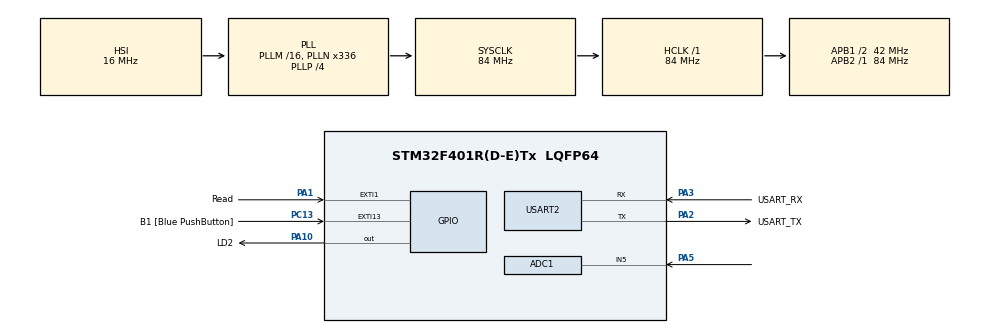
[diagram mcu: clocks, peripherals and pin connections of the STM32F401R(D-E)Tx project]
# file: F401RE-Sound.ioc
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ADC1.Channel-0\#ChannelRegularConversion=ADC_CHANNEL_5
ADC1.ContinuousConvMode=ENABLE
ADC1.NbrOfConversionFlag=1
ADC1.Rank-0\#ChannelRegularConversion=1
ADC1.SamplingTime-0\#ChannelRegularConversion=ADC_SAMPLETIME_480CYCLES
ADC1.master=1
Mcu.Family=STM32F4
Mcu.Name=STM32F401R(D-E)Tx
Mcu.Package=LQFP64
NVIC.EXTI15_10_IRQn=true\:0\:0\:false\:false\:true\:true\:true\:true
NVIC.EXTI1_IRQn=true\:0\:0\:false\:false\:true\:true\:true\:true
NVIC.PriorityGroup=NVIC_PRIORITYGROUP_0
PA1.GPIO_Label=Read
PA1.Signal=GPXTI1
PA10.GPIO_Label=LD2
PA10.PinState=GPIO_PIN_SET
PA10.Signal=GPIO_Output
PA13.GPIO_Label=TMS
PA13.Mode=Serial_Wire
PA13.Signal=SYS_JTMS-SWDIO
PA14.GPIO_Label=TCK
PA14.Mode=Serial_Wire
PA14.Signal=SYS_JTCK-SWCLK
PA2.GPIO_Label=USART_TX
PA2.GPIO_Mode=GPIO_MODE_AF_PP
PA2.GPIO_PuPd=GPIO_NOPULL
PA2.GPIO_Speed=GPIO_SPEED_FREQ_LOW
PA2.Mode=Asynchronous
PA2.Signal=USART2_TX
PA3.GPIO_Label=USART_RX
PA3.GPIO_Mode=GPIO_MODE_AF_PP
PA3.GPIO_PuPd=GPIO_NOPULL
PA3.GPIO_Speed=GPIO_SPEED_FREQ_LOW
PA3.Mode=Asynchronous
PA3.Signal=USART2_RX
PA5.Signal=ADCx_IN5
PB3.GPIO_Label=SWO
PB3.Signal=SYS_JTDO-SWO
PC13-ANTI_TAMP.GPIO_Label=B1 [Blue PushButton]
PC13-ANTI_TAMP.GPIO_ModeDefaultEXTI=GPIO_MODE_IT_FALLING
PC13-ANTI_TAMP.GPIO_PuPd=GPIO_NOPULL
PC13-ANTI_TAMP.Signal=GPXTI13
PC14-OSC32_IN.Mode=LSE-External-Oscillator
PC14-OSC32_IN.Signal=RCC_OSC32_IN
PC15-OSC32_OUT.Mode=LSE-External-Oscillator
PC15-OSC32_OUT.Signal=RCC_OSC32_OUT
PH0\ -\ OSC_IN.Mode=HSE-External-Clock-Source
PH0\ -\ OSC_IN.Signal=RCC_OSC_IN
PH1\ -\ OSC_OUT.Mode=HSE-External-Clock-Source
PH1\ -\ OSC_OUT.Signal=RCC_OSC_OUT
ProjectManager.HeapSize=0x200
ProjectManager.StackSize=0x400
ProjectManager.TargetToolchain=STM32CubeIDE
RCC.48MHZClocksFreq_Value=48000000
RCC.AHBFreq_Value=84000000
RCC.APB1CLKDivider=RCC_HCLK_DIV2
RCC.APB1Freq_Value=42000000
RCC.APB1TimFreq_Value=84000000
RCC.APB2Freq_Value=84000000
RCC.APB2TimFreq_Value=84000000
RCC.CortexFreq_Value=84000000
RCC.HCLKFreq_Value=84000000
RCC.HSE_VALUE=8000000
RCC.HSI_VALUE=16000000
RCC.PLLN=336
RCC.PLLP=RCC_PLLP_DIV4
RCC.PLLQ=7
RCC.SYSCLKFreq_VALUE=84000000
RCC.SYSCLKSource=RCC_SYSCLKSOURCE_PLLCLK
RCC.VCOOutputFreq_Value=336000000
SH.ADCx_IN5.0=ADC1_IN5,IN5
USART2.VirtualMode=VM_ASYNC
board=NUCLEO-F401RE

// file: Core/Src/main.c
/* USER CODE BEGIN Header */
/**
  ******************************************************************************
  * @file           : main.c
  * @brief          : Main program body
  ******************************************************************************
  * @attention
  *
  * Copyright (c) 2024 STMicroelectronics.
  * All rights reserved.
  *
  * This software is licensed under terms that can be found in the LICENSE file
  * in the root directory of this software component.
  * If no LICENSE file comes with this software, it is provided AS-IS.
  *
  ******************************************************************************
  */
/* USER CODE END Header */
#include "main.h"

/* USER CODE BEGIN Includes */
#include <stdio.h>
#include <string.h>
/* USER CODE END Includes */

ADC_HandleTypeDef hadc1;

UART_HandleTypeDef huart2;

void SystemClock_Config(void);
static void MX_GPIO_Init(void);
static void MX_USART2_UART_Init(void);
static void MX_ADC1_Init(void);

/* USER CODE BEGIN 0 */
uint8_t count = 0;
/* USER CODE END 0 */

int main(void)
{

  /* MCU Configuration--------------------------------------------------------*/

  /* Reset of all peripherals, Initializes the Flash interface and the Systick. */
  HAL_Init();

  /* Configure the system clock */
  SystemClock_Config();

  /* Initialize all configured peripherals */
  MX_GPIO_Init();
  MX_USART2_UART_Init();
  MX_ADC1_Init();
  /* USER CODE BEGIN 2 */
  HAL_ADC_Start(&hadc1);
  /* USER CODE END 2 */

  /* Infinite loop */
  /* USER CODE BEGIN WHILE */
  uint16_t raw;
  HAL_ADC_PollForConversion(&hadc1, 1);
  while (1)
  {
	  //printf("COUNT: %d \n", count);
	  //HAL_Delay(1000);
    /* USER CODE END WHILE */
	   	   raw = HAL_ADC_GetValue(&hadc1);
	   	   if(raw > 3320){
	   	   printf("\nRaw: %i", raw);
	   	   }
	   	   HAL_Delay(100);
  }
}

void SystemClock_Config(void)
{
  RCC_OscInitTypeDef RCC_OscInitStruct = {0};
  RCC_ClkInitTypeDef RCC_ClkInitStruct = {0};

  /** Configure the main internal regulator output voltage
  */
  __HAL_RCC_PWR_CLK_ENABLE();
  __HAL_PWR_VOLTAGESCALING_CONFIG(PWR_REGULATOR_VOLTAGE_SCALE2);

  /** Initializes the RCC Oscillators according to the specified parameters
  * in the RCC_OscInitTypeDef structure.
  */
  RCC_OscInitStruct.OscillatorType = RCC_OSCILLATORTYPE_HSI;
  RCC_OscInitStruct.HSIState = RCC_HSI_ON;
  RCC_OscInitStruct.HSICalibrationValue = RCC_HSICALIBRATION_DEFAULT;
  RCC_OscInitStruct.PLL.PLLState = RCC_PLL_ON;
  RCC_OscInitStruct.PLL.PLLSource = RCC_PLLSOURCE_HSI;
  RCC_OscInitStruct.PLL.PLLM = 16;
  RCC_OscInitStruct.PLL.PLLN = 336;
  RCC_OscInitStruct.PLL.PLLP = RCC_PLLP_DIV4;
  RCC_OscInitStruct.PLL.PLLQ = 7;
  if (HAL_RCC_OscConfig(&RCC_OscInitStruct) != HAL_OK)
  {
    Error_Handler();
  }

  /** Initializes the CPU, AHB and APB buses clocks
  */
  RCC_ClkInitStruct.ClockType = RCC_CLOCKTYPE_HCLK|RCC_CLOCKTYPE_SYSCLK
                              |RCC_CLOCKTYPE_PCLK1|RCC_CLOCKTYPE_PCLK2;
  RCC_ClkInitStruct.SYSCLKSource = RCC_SYSCLKSOURCE_PLLCLK;
  RCC_ClkInitStruct.AHBCLKDivider = RCC_SYSCLK_DIV1;
  RCC_ClkInitStruct.APB1CLKDivider = RCC_HCLK_DIV2;
  RCC_ClkInitStruct.APB2CLKDivider = RCC_HCLK_DIV1;

  if (HAL_RCC_ClockConfig(&RCC_ClkInitStruct, FLASH_LATENCY_2) != HAL_OK)
  {
    Error_Handler();
  }
}

static void MX_ADC1_Init(void)
{

  ADC_ChannelConfTypeDef sConfig = {0};

  /** Configure the global features of the ADC (Clock, Resolution, Data Alignment and number of conversion)
  */
  hadc1.Instance = ADC1;
  hadc1.Init.ClockPrescaler = ADC_CLOCK_SYNC_PCLK_DIV4;
  hadc1.Init.Resolution = ADC_RESOLUTION_12B;
  hadc1.Init.ScanConvMode = DISABLE;
  hadc1.Init.ContinuousConvMode = ENABLE;
  hadc1.Init.DiscontinuousConvMode = DISABLE;
  hadc1.Init.ExternalTrigConvEdge = ADC_EXTERNALTRIGCONVEDGE_NONE;
  hadc1.Init.ExternalTrigConv = ADC_SOFTWARE_START;
  hadc1.Init.DataAlign = ADC_DATAALIGN_RIGHT;
  hadc1.Init.NbrOfConversion = 1;
  hadc1.Init.DMAContinuousRequests = DISABLE;
  hadc1.Init.EOCSelection = ADC_EOC_SEQ_CONV;
  if (HAL_ADC_Init(&hadc1) != HAL_OK)
  {
    Error_Handler();
  }

  /** Configure for the selected ADC regular channel its corresponding rank in the sequencer and its sample time.
  */
  sConfig.Channel = ADC_CHANNEL_5;
  sConfig.Rank = 1;
  sConfig.SamplingTime = ADC_SAMPLETIME_480CYCLES;
  if (HAL_ADC_ConfigChannel(&hadc1, &sConfig) != HAL_OK)
  {
    Error_Handler();
  }

}

static void MX_USART2_UART_Init(void)
{

  huart2.Instance = USART2;
  huart2.Init.BaudRate = 115200;
  huart2.Init.WordLength = UART_WORDLENGTH_8B;
  huart2.Init.StopBits = UART_STOPBITS_1;
  huart2.Init.Parity = UART_PARITY_NONE;
  huart2.Init.Mode = UART_MODE_TX_RX;
  huart2.Init.HwFlowCtl = UART_HWCONTROL_NONE;
  huart2.Init.OverSampling = UART_OVERSAMPLING_16;
  if (HAL_UART_Init(&huart2) != HAL_OK)
  {
    Error_Handler();
  }

}

static void MX_GPIO_Init(void)
{
  GPIO_InitTypeDef GPIO_InitStruct = {0};

  /* GPIO Ports Clock Enable */
  __HAL_RCC_GPIOC_CLK_ENABLE();
  __HAL_RCC_GPIOH_CLK_ENABLE();
  __HAL_RCC_GPIOA_CLK_ENABLE();
  __HAL_RCC_GPIOB_CLK_ENABLE();

  /*Configure GPIO pin Output Level */
  HAL_GPIO_WritePin(LD2_GPIO_Port, LD2_Pin, GPIO_PIN_SET);

  /*Configure GPIO pin : B1_Pin */
  GPIO_InitStruct.Pin = B1_Pin;
  GPIO_InitStruct.Mode = GPIO_MODE_IT_FALLING;
  GPIO_InitStruct.Pull = GPIO_NOPULL;
  HAL_GPIO_Init(B1_GPIO_Port, &GPIO_InitStruct);

  /*Configure GPIO pin : Read_Pin */
  GPIO_InitStruct.Pin = Read_Pin;
  GPIO_InitStruct.Mode = GPIO_MODE_IT_RISING;
  GPIO_InitStruct.Pull = GPIO_NOPULL;
  HAL_GPIO_Init(Read_GPIO_Port, &GPIO_InitStruct);

  /*Configure GPIO pin : LD2_Pin */
  GPIO_InitStruct.Pin = LD2_Pin;
  GPIO_InitStruct.Mode = GPIO_MODE_OUTPUT_PP;
  GPIO_InitStruct.Pull = GPIO_NOPULL;
  GPIO_InitStruct.Speed = GPIO_SPEED_FREQ_LOW;
  HAL_GPIO_Init(LD2_GPIO_Port, &GPIO_InitStruct);

  /* EXTI interrupt init*/
  HAL_NVIC_SetPriority(EXTI1_IRQn, 0, 0);
  HAL_NVIC_EnableIRQ(EXTI1_IRQn);

  HAL_NVIC_SetPriority(EXTI15_10_IRQn, 0, 0);
  HAL_NVIC_EnableIRQ(EXTI15_10_IRQn);

}

/* USER CODE BEGIN 4 */
#define BOUNCE_TIME 150 // 0.2 second
#define MEAN_TIME 50
// Global variable for bounce time check
int _write(int file, char *p, int len) {
	HAL_UART_Transmit(&huart2, (uint8_t *)p, len, 10);
	return len;
}
uint32_t last_interrupt_time = 0;

void HAL_GPIO_EXTI_Callback(uint16_t GPIO_Pin)
{
	UNUSED(GPIO_Pin);
	uint32_t curr_interrupt_time = HAL_GetTick();

	if (curr_interrupt_time - last_interrupt_time > BOUNCE_TIME){
		count++;
	}else if (curr_interrupt_time - last_interrupt_time < BOUNCE_TIME - MEAN_TIME){
		(count > 0) ? (count--) : (count = 0);
	}
	if (count == 3){
		HAL_GPIO_TogglePin(GPIOA, LD2_Pin);
		count = 0;

	}

	last_interrupt_time = curr_interrupt_time;
}

/*do
  {
  int amp,prev_amp;

  prev_amp = analogRead(0) - 512;
  #define sign(x) ( (x>=0) ? +1 : -1 )

  int zeroCrossings=0;
  int highAmp=0;

  // I estimate this loop will go about 8KHz, thus 80 times is 10 ms

  for (int i=0; i<=80; i++)
    {
    amp = analogRead(0) - 512;
    if (sign(amp) != sign(prev_amp)) zeroCrossings++;
    if (abs(amp) > 300) highAmp++;
    }

  clap = (highAmp > 15 && zeroCrossings > 20); // all numbers subject to experimentation!
  }
     while (clap = false);
}*/
/* USER CODE END 4 */

void Error_Handler(void)
{
  __disable_irq();
  while (1)
  {
  }
}
